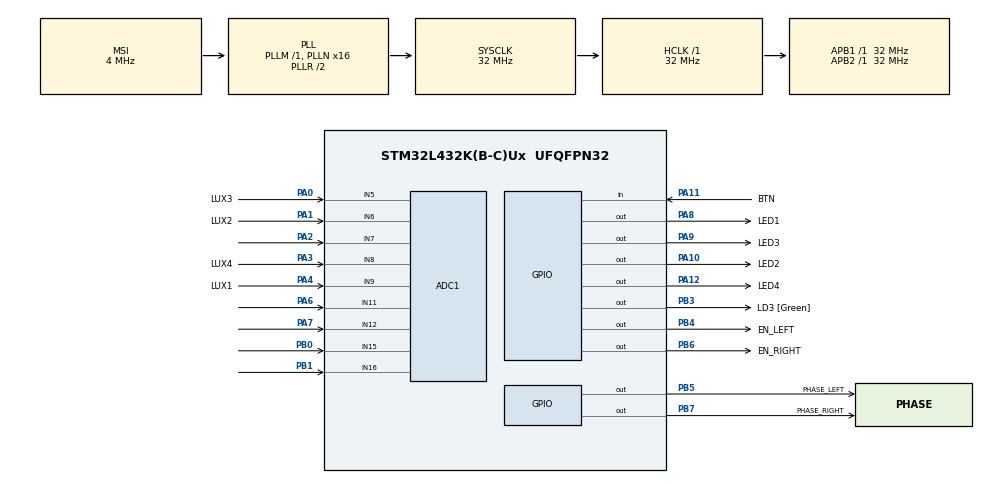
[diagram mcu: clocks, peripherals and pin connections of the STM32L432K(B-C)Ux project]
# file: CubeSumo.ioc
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ADC1.Channel-0\#ChannelRegularConversion=ADC_CHANNEL_11
ADC1.NbrOfConversionFlag=1
ADC1.OffsetNumber-0\#ChannelRegularConversion=ADC_OFFSET_NONE
ADC1.Rank-0\#ChannelRegularConversion=1
ADC1.SamplingTime-0\#ChannelRegularConversion=ADC_SAMPLETIME_2CYCLES_5
ADC1.master=1
Mcu.Family=STM32L4
Mcu.Name=STM32L432K(B-C)Ux
Mcu.Package=UFQFPN32
NVIC.PriorityGroup=NVIC_PRIORITYGROUP_4
PA0.GPIO_Label=LUX3
PA0.Signal=ADCx_IN5
PA1.GPIO_Label=LUX2
PA1.Signal=ADCx_IN6
PA10.GPIO_Label=LED2
PA10.GPIO_PuPd=GPIO_PULLDOWN
PA10.Signal=GPIO_Output
PA11.GPIO_Label=BTN
PA11.Signal=GPIO_Input
PA12.GPIO_Label=LED4
PA12.GPIO_PuPd=GPIO_PULLDOWN
PA12.Signal=GPIO_Output
PA13\ (JTMS-SWDIO).GPIO_Label=SWDIO
PA13\ (JTMS-SWDIO).Mode=Serial_Wire
PA13\ (JTMS-SWDIO).Signal=SYS_JTMS-SWDIO
PA14\ (JTCK-SWCLK).GPIO_Label=SWCLK
PA14\ (JTCK-SWCLK).Mode=Serial_Wire
PA14\ (JTCK-SWCLK).Signal=SYS_JTCK-SWCLK
PA2.Signal=ADCx_IN7
PA3.GPIO_Label=LUX4
PA3.Signal=ADCx_IN8
PA4.GPIO_Label=LUX1
PA4.Signal=ADCx_IN9
PA6.Signal=ADCx_IN11
PA7.Signal=ADCx_IN12
PA8.GPIO_Label=LED1
PA8.GPIO_PuPd=GPIO_PULLDOWN
PA8.Signal=GPIO_Output
PA9.GPIO_Label=LED3
PA9.GPIO_PuPd=GPIO_PULLDOWN
PA9.Signal=GPIO_Output
PB0.Signal=ADCx_IN15
PB1.Signal=ADCx_IN16
PB3\ (JTDO-TRACESWO).GPIO_Label=LD3 [Green]
PB3\ (JTDO-TRACESWO).GPIO_PuPd=GPIO_NOPULL
PB3\ (JTDO-TRACESWO).Signal=GPIO_Output
PB4\ (NJTRST).GPIO_Label=EN_LEFT
PB4\ (NJTRST).GPIO_PuPd=GPIO_PULLDOWN
PB4\ (NJTRST).Signal=GPIO_Output
PB5.GPIO_Label=PHASE_LEFT
PB5.GPIO_PuPd=GPIO_PULLDOWN
PB5.Signal=GPIO_Output
PB6.GPIO_Label=EN_RIGHT
PB6.GPIO_PuPd=GPIO_PULLDOWN
PB6.Signal=GPIO_Output
PB7.GPIO_Label=PHASE_RIGHT
PB7.GPIO_PuPd=GPIO_PULLDOWN
PB7.Signal=GPIO_Output
PC14-OSC32_IN\ (PC14).Mode=LSE-External-Oscillator
PC14-OSC32_IN\ (PC14).Signal=RCC_OSC32_IN
PC15-OSC32_OUT\ (PC15).Mode=LSE-External-Oscillator
PC15-OSC32_OUT\ (PC15).Signal=RCC_OSC32_OUT
ProjectManager.HeapSize=0x200
ProjectManager.StackSize=0x400
ProjectManager.TargetToolchain=CMake
RCC.ADCFreq_Value=32000000
RCC.AHBFreq_Value=32000000
RCC.APB1Freq_Value=32000000
RCC.APB1TimFreq_Value=32000000
RCC.APB2Freq_Value=32000000
RCC.APB2TimFreq_Value=32000000
RCC.CortexFreq_Value=32000000
RCC.HCLKFreq_Value=32000000
RCC.HSE_VALUE=8000000
RCC.HSI16_VALUE=16000000
RCC.HSI48_VALUE=48000000
RCC.HSI_VALUE=16000000
RCC.MSI_VALUE=4000000
RCC.PLLMUL=RCC_PLLMUL_4
RCC.PLLN=16
RCC.PLLSAI1N=16
RCC.SYSCLKFreq_VALUE=32000000
RCC.SYSCLKSource=RCC_SYSCLKSOURCE_PLLCLK
RCC.USBFreq_Value=32000000
RCC.VCOOutputFreq_Value=64000000
SH.ADCx_IN11.0=ADC1_IN11,IN11-Single-Ended
SH.ADCx_IN12.0=ADC1_IN12,IN12-Single-Ended
SH.ADCx_IN15.0=ADC1_IN15,IN15-Single-Ended
SH.ADCx_IN16.0=ADC1_IN16,IN16-Single-Ended
SH.ADCx_IN5.0=ADC1_IN5,IN5-Single-Ended
SH.ADCx_IN6.0=ADC1_IN6,IN6-Single-Ended
SH.ADCx_IN7.0=ADC1_IN7,IN7-Single-Ended
SH.ADCx_IN8.0=ADC1_IN8,IN8-Single-Ended
SH.ADCx_IN9.0=ADC1_IN9,IN9-Single-Ended
board=NUCLEO-L432KC

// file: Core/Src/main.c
/* USER CODE BEGIN Header */
/**
  ******************************************************************************
  * @file           : main.c
  * @brief          : Main program body
  ******************************************************************************
  * @attention
  *
  * Copyright (c) 2025 STMicroelectronics.
  * All rights reserved.
  *
  * This software is licensed under terms that can be found in the LICENSE file
  * in the root directory of this software component.
  * If no LICENSE file comes with this software, it is provided AS-IS.
  *
  ******************************************************************************
  */
/* USER CODE END Header */
#include "main.h"

/* USER CODE BEGIN Includes */
#include "movement.h" // Library for robot movement functions

/* USER CODE END Includes */

/* USER CODE BEGIN PD */

// SENSOR DEFINES
#define NUM_SENSORS (9)                     // How many analog sensors are used in the robot
#define DEBOUNCE_THRESHOLD (5)              // Number of stable reads required to confirm a new button state

// LINE DETECTION DEFINES
#define LINE_DETECTION_THRESHOLD (70)       // ADC value threshold for line detection
#define LINE_DETECTION_CONFIRMATIONS (3)    // Number of consecutive detections required to confirm line
#define BACKWARD_TIME_MS (1000)             // Time to move backward when line detected (ms)
#define MIN_ROTATE_TIME_MS (500)            // Minimum rotation time (ms)
#define MAX_ROTATE_TIME_MS (1500)            // Maximum rotation time (ms)

// OPPONENT DETECTION DEFINES
#define OPPONENT_DETECTION_THRESHOLD (1000)  // ADC value threshold for opponent detection

/* USER CODE END PD */

ADC_HandleTypeDef hadc1;

void SystemClock_Config(void);
static void MX_GPIO_Init(void);
static void MX_ADC1_Init(void);

/* USER CODE BEGIN 0 */

// Struct that associates an ADC channel with a pointer to its output variable
typedef struct
{
    uint32_t channel;
    uint32_t* value_ptr;
} Sensor_t;

// Struct that stores info about button state
typedef struct
{
    uint8_t current;          //current debounced button state  <== use this for external usage
    uint8_t previous;         //previous debounced state
    uint8_t rising_edge;      //set to 1 for one loop cycle when a press is detected
    uint8_t falling_edge;     //set to 1 for one loop cycle when a release is detected
    uint8_t stable_state;     //internal filtered state
    uint8_t debounce_counter; //counter for debounce filtering
} ButtonState_t;

// Enum for all states in state machine
typedef enum
{
    STATE_IDLE,
    STATE_WAIT_FOR_START,
    STATE_SEARCH,
    STATE_FIGHT
} RobotState_t;

// Enum for line detection handler states
typedef enum
{
    LINE_STATE_MONITORING,    // Normal state - monitoring for line
    LINE_STATE_BACKING_UP,    // Moving backward after line detection
    LINE_STATE_ROTATING       // Rotating to avoid line again
} LineDetectionState_t;

// Variables used to store analog values read from sensors
uint32_t FrontRightDistanceSensor, RightDistanceSensor, FrontCenterDistanceSensor, FrontLeftDistanceSensor, LeftDistanceSensor;
uint32_t FrontRightLightSensor, BackRightLightSensor, FrontLeftLightSensor, BackLeftLightSensor;

// Global variable that store all necessary information about the button state
ButtonState_t button = {0};

// Variable tracking current movement direction
Direction_t current_direction = DIR_STOP;

// Global variables storing duty cycle 0-100% for left and right motors
volatile uint8_t pwm_left = 0;
volatile uint8_t pwm_right = 0;

// Holder for current state in state machine
RobotState_t current_state = STATE_IDLE;

// Line detection handler variables
LineDetectionState_t line_state = LINE_STATE_MONITORING;
uint32_t line_action_start_time = 0;    // Time when line action started
uint32_t line_rotate_duration = 0;      // Duration of rotation action
uint8_t line_rotate_direction = 0;      // 0 = left, 1 = right
uint8_t line_detection_counter = 0;     // Counter for filtering line detection noise

// Array that maps ADC channels to their corresponding sensor value variables
Sensor_t sensors[NUM_SENSORS] =
{
    {ADC_CHANNEL_16, &FrontRightDistanceSensor},   // adc_value_1 -> FrontRightDistanceSensor
    {ADC_CHANNEL_11, &RightDistanceSensor},        // adc_value_2 -> RightDistanceSensor
    {ADC_CHANNEL_12, &FrontCenterDistanceSensor},  // adc_value_3 -> FrontCenterDistanceSensor
    {ADC_CHANNEL_7,  &FrontLeftDistanceSensor},    // adc_value_4 -> FrontLeftDistanceSensor
    {ADC_CHANNEL_15, &LeftDistanceSensor},         // adc_value_5 -> LeftDistanceSensor
    {ADC_CHANNEL_9,  &FrontRightLightSensor},      // adc_value_6 -> FrontRightLightSensor
    {ADC_CHANNEL_6,  &BackRightLightSensor},       // adc_value_7 -> BackRightLightSensor
    {ADC_CHANNEL_5,  &FrontLeftLightSensor},       // adc_value_8 -> FrontLeftLightSensor
    {ADC_CHANNEL_8,  &BackLeftLightSensor}         // adc_value_9 -> BackLeftLightSensor
};

// Selects the specified ADC channel and prepares it for conversion
void ADC_SetActiveChannel(ADC_HandleTypeDef *hadc, uint32_t AdcChannel)
{
  ADC_ChannelConfTypeDef sConfig = {0};
  sConfig.Channel = AdcChannel;
  sConfig.Rank = 1;
  sConfig.SamplingTime = ADC_SAMPLETIME_12CYCLES_5;
  if (HAL_ADC_ConfigChannel(hadc, &sConfig) != HAL_OK)
  {
	  Error_Handler();
  }
}

// Reads values from all configured ADC channels and stores the results
void UpdateAllSensors(void)
{
    for (int i = 0; i < NUM_SENSORS; i++)
    {
        ADC_SetActiveChannel(&hadc1, sensors[i].channel);
        HAL_ADC_Start(&hadc1);

        if (HAL_ADC_PollForConversion(&hadc1, 10) == HAL_OK)
        {
        	// Store the value directly in the variable pointed to by the sensor
            *(sensors[i].value_ptr) = HAL_ADC_GetValue(&hadc1);
        }
    }
}

// Calculates the button state including filtering
void UpdateButtonState(void)
{
    // Read raw button input
    uint8_t raw_state = (HAL_GPIO_ReadPin(BTN_GPIO_Port, BTN_Pin) == GPIO_PIN_RESET) ? 1 : 0;

    // Check if the raw state differs from the last confirmed stable state
    if (raw_state != button.stable_state)
    {
        // Count how many times this new state was seen consecutively
        button.debounce_counter++;

        // If new state was long enough then accept it
        if (button.debounce_counter >= DEBOUNCE_THRESHOLD)
        {
            button.previous = button.stable_state;
            button.stable_state = raw_state;

            // Edge detection
            button.rising_edge  = (button.previous == 0 && button.stable_state == 1);
            button.falling_edge = (button.previous == 1 && button.stable_state == 0);
        }
    }
    else
    {
        // Reset debounce counter if state is sure
        button.debounce_counter = 0;

        // Reset edge flags
        button.rising_edge = 0;
        button.falling_edge = 0;
    }

    // Save debounced state for external use
    button.current = button.stable_state;
}

// Turn LEDs under the robot on or off
void LEDsOnOff(uint8_t state)
{
	if (state == 0)
	{
		HAL_GPIO_WritePin(LED1_GPIO_Port, LED1_Pin, GPIO_PIN_RESET);
		HAL_GPIO_WritePin(LED2_GPIO_Port, LED2_Pin, GPIO_PIN_RESET);
		HAL_GPIO_WritePin(LED3_GPIO_Port, LED3_Pin, GPIO_PIN_RESET);
		HAL_GPIO_WritePin(LED4_GPIO_Port, LED4_Pin, GPIO_PIN_RESET);
	}
	else
	{
		HAL_GPIO_WritePin(LED1_GPIO_Port, LED1_Pin, GPIO_PIN_SET);
		HAL_GPIO_WritePin(LED2_GPIO_Port, LED2_Pin, GPIO_PIN_SET);
		HAL_GPIO_WritePin(LED3_GPIO_Port, LED3_Pin, GPIO_PIN_SET);
		HAL_GPIO_WritePin(LED4_GPIO_Port, LED4_Pin, GPIO_PIN_SET);
	}
}

// Robot behavior when a line is detected
void LineDetectionHandler(void)
{
    // Get current time for timing actions
    uint32_t current_time = HAL_GetTick();

    // Check if any of the line sensors detected a line
    uint8_t line_detected_raw = 0;

    if (FrontRightLightSensor > LINE_DETECTION_THRESHOLD ||
        BackRightLightSensor > LINE_DETECTION_THRESHOLD ||
        FrontLeftLightSensor > LINE_DETECTION_THRESHOLD ||
        BackLeftLightSensor > LINE_DETECTION_THRESHOLD)
    {
        line_detected_raw = 1;
    }

    // Filter line detection - require several consecutive confirmations
    uint8_t line_detected_filtered = 0;

    if (line_detected_raw)
    {
        // If a line is detected, increment the counter
        line_detection_counter++;

        // If we have enough confirmed detections, consider it valid
        if (line_detection_counter >= LINE_DETECTION_CONFIRMATIONS)
        {
            line_detected_filtered = 1;
        }
    }
    else
    {
        // If no detection, reset counter
        line_detection_counter = 0;
    }

    switch (line_state)
    {
        case LINE_STATE_MONITORING:
            if (line_detected_filtered)
            {
                // Line detected after filtering - start the escape sequence
                line_action_start_time = current_time;
                line_state = LINE_STATE_BACKING_UP;

                // Immediately start moving backward
                MoveBackward(20);

                // Reset counter after use
                line_detection_counter = 0;
            }
            // If no line is detected, do nothing
            break;

        case LINE_STATE_BACKING_UP:
            // Continue moving backward for a set time
            MoveBackward(20);

            // Reset counter while backing up (not checking line)
            line_detection_counter = 0;

            if (current_time - line_action_start_time >= BACKWARD_TIME_MS)
            {
                // Backward time elapsed, transition to rotating
                line_state = LINE_STATE_ROTATING;
                line_action_start_time = current_time;

                // Generate random rotation time and direction ONLY HERE
                line_rotate_duration = MIN_ROTATE_TIME_MS + (HAL_GetTick() % (MAX_ROTATE_TIME_MS - MIN_ROTATE_TIME_MS));
                line_rotate_direction = HAL_GetTick() % 2;  // 0 or 1
            }
            break;

        case LINE_STATE_ROTATING:
            // Rotate robot in random direction for random time
            if (line_rotate_direction == 0)
            {
                RotateLeft(20);
            }
            else
            {
                RotateRight(20);
            }

            // Reset counter while rotating (not checking line)
            line_detection_counter = 0;

            if (current_time - line_action_start_time >= line_rotate_duration)
            {
                // Rotation finished, return to monitoring
                line_state = LINE_STATE_MONITORING;

                // Clear rotation variables for safety
                line_rotate_duration = 0;
                line_rotate_direction = 0;
            }
            break;

        default:
            // If we reach an unknown state, reset to monitoring
            line_state = LINE_STATE_MONITORING;
            line_rotate_duration = 0;
            line_rotate_direction = 0;
            line_detection_counter = 0;
            break;
    }
}

// Check if opponent is detected by any of the front/side sensors
uint8_t OpponentDetected(void)
{
    if (FrontRightDistanceSensor > OPPONENT_DETECTION_THRESHOLD ||
        RightDistanceSensor > OPPONENT_DETECTION_THRESHOLD ||
        FrontCenterDistanceSensor > OPPONENT_DETECTION_THRESHOLD ||
        FrontLeftDistanceSensor > OPPONENT_DETECTION_THRESHOLD ||
        LeftDistanceSensor > OPPONENT_DETECTION_THRESHOLD)
    {
        return 1;
    }
    return 0;
}

/* USER CODE END 0 */

int main(void)
{

  /* MCU Configuration--------------------------------------------------------*/

  /* Reset of all peripherals, Initializes the Flash interface and the Systick. */
  HAL_Init();

  /* Configure the system clock */
  SystemClock_Config();

  /* Initialize all configured peripherals */
  MX_GPIO_Init();
  MX_ADC1_Init();

  /* Infinite loop */
  /* USER CODE BEGIN WHILE */
  while (1)
  {
      // Update all sensors
      UpdateAllSensors();
      UpdateButtonState();

      // STATE MACHINE
      switch (current_state)
      {
        case STATE_IDLE:
            // Here we put logic for one state
            LEDsOnOff(0);
            StopMotors();

            // Here we check conditions when we want to go to the next state
            current_state = STATE_WAIT_FOR_START;

            break;

        case STATE_WAIT_FOR_START:
            LEDsOnOff(1);

            // Commented for testing without button
            //if (button.falling_edge)
            //{
                current_state = STATE_SEARCH;
            //}
            break;

        case STATE_SEARCH:
            // Check line detection BEFORE issuing movement command
            LineDetectionHandler();

            // Check if opponent is detected by front/side sensors
            // if (OpponentDetected())
            // {
            //     // Opponent found - switch to fight mode
            //     current_state = STATE_FIGHT;
            //     break;
            // }

            // Only if there is no active line detection, move forward
            if (line_state == LINE_STATE_MONITORING)
            {
                MoveForward(20);
            }
            break;

        case STATE_FIGHT:

            break;

        default:
            // If we reach an unknown state, reset to idle
            current_state = STATE_IDLE;
            break;
      }
    /* USER CODE END WHILE */

  }
}

void SystemClock_Config(void)
{
  RCC_OscInitTypeDef RCC_OscInitStruct = {0};
  RCC_ClkInitTypeDef RCC_ClkInitStruct = {0};

  /** Configure the main internal regulator output voltage
  */
  if (HAL_PWREx_ControlVoltageScaling(PWR_REGULATOR_VOLTAGE_SCALE1) != HAL_OK)
  {
    Error_Handler();
  }

  /** Configure LSE Drive Capability
  */
  HAL_PWR_EnableBkUpAccess();
  __HAL_RCC_LSEDRIVE_CONFIG(RCC_LSEDRIVE_LOW);

  /** Initializes the RCC Oscillators according to the specified parameters
  * in the RCC_OscInitTypeDef structure.
  */
  RCC_OscInitStruct.OscillatorType = RCC_OSCILLATORTYPE_LSE|RCC_OSCILLATORTYPE_MSI;
  RCC_OscInitStruct.LSEState = RCC_LSE_ON;
  RCC_OscInitStruct.MSIState = RCC_MSI_ON;
  RCC_OscInitStruct.MSICalibrationValue = 0;
  RCC_OscInitStruct.MSIClockRange = RCC_MSIRANGE_6;
  RCC_OscInitStruct.PLL.PLLState = RCC_PLL_ON;
  RCC_OscInitStruct.PLL.PLLSource = RCC_PLLSOURCE_MSI;
  RCC_OscInitStruct.PLL.PLLM = 1;
  RCC_OscInitStruct.PLL.PLLN = 16;
  RCC_OscInitStruct.PLL.PLLP = RCC_PLLP_DIV7;
  RCC_OscInitStruct.PLL.PLLQ = RCC_PLLQ_DIV2;
  RCC_OscInitStruct.PLL.PLLR = RCC_PLLR_DIV2;
  if (HAL_RCC_OscConfig(&RCC_OscInitStruct) != HAL_OK)
  {
    Error_Handler();
  }

  /** Initializes the CPU, AHB and APB buses clocks
  */
  RCC_ClkInitStruct.ClockType = RCC_CLOCKTYPE_HCLK|RCC_CLOCKTYPE_SYSCLK
                              |RCC_CLOCKTYPE_PCLK1|RCC_CLOCKTYPE_PCLK2;
  RCC_ClkInitStruct.SYSCLKSource = RCC_SYSCLKSOURCE_PLLCLK;
  RCC_ClkInitStruct.AHBCLKDivider = RCC_SYSCLK_DIV1;
  RCC_ClkInitStruct.APB1CLKDivider = RCC_HCLK_DIV1;
  RCC_ClkInitStruct.APB2CLKDivider = RCC_HCLK_DIV1;

  if (HAL_RCC_ClockConfig(&RCC_ClkInitStruct, FLASH_LATENCY_1) != HAL_OK)
  {
    Error_Handler();
  }

  /** Enable MSI Auto calibration
  */
  HAL_RCCEx_EnableMSIPLLMode();
}

static void MX_ADC1_Init(void)
{

  ADC_ChannelConfTypeDef sConfig = {0};

  /** Common config
  */
  hadc1.Instance = ADC1;
  hadc1.Init.ClockPrescaler = ADC_CLOCK_ASYNC_DIV1;
  hadc1.Init.Resolution = ADC_RESOLUTION_12B;
  hadc1.Init.DataAlign = ADC_DATAALIGN_RIGHT;
  hadc1.Init.ScanConvMode = ADC_SCAN_DISABLE;
  hadc1.Init.EOCSelection = ADC_EOC_SINGLE_CONV;
  hadc1.Init.LowPowerAutoWait = DISABLE;
  hadc1.Init.ContinuousConvMode = DISABLE;
  hadc1.Init.NbrOfConversion = 1;
  hadc1.Init.DiscontinuousConvMode = DISABLE;
  hadc1.Init.ExternalTrigConv = ADC_SOFTWARE_START;
  hadc1.Init.ExternalTrigConvEdge = ADC_EXTERNALTRIGCONVEDGE_NONE;
  hadc1.Init.DMAContinuousRequests = DISABLE;
  hadc1.Init.Overrun = ADC_OVR_DATA_PRESERVED;
  hadc1.Init.OversamplingMode = DISABLE;
  if (HAL_ADC_Init(&hadc1) != HAL_OK)
  {
    Error_Handler();
  }

  /** Configure Regular Channel
  */
  sConfig.Channel = ADC_CHANNEL_11;
  sConfig.Rank = ADC_REGULAR_RANK_1;
  sConfig.SamplingTime = ADC_SAMPLETIME_2CYCLES_5;
  sConfig.SingleDiff = ADC_SINGLE_ENDED;
  sConfig.OffsetNumber = ADC_OFFSET_NONE;
  sConfig.Offset = 0;
  if (HAL_ADC_ConfigChannel(&hadc1, &sConfig) != HAL_OK)
  {
    Error_Handler();
  }

}

static void MX_GPIO_Init(void)
{
  GPIO_InitTypeDef GPIO_InitStruct = {0};

  /* GPIO Ports Clock Enable */
  __HAL_RCC_GPIOC_CLK_ENABLE();
  __HAL_RCC_GPIOA_CLK_ENABLE();
  __HAL_RCC_GPIOB_CLK_ENABLE();

  /*Configure GPIO pin Output Level */
  HAL_GPIO_WritePin(GPIOA, LED1_Pin|LED3_Pin|LED2_Pin|LED4_Pin, GPIO_PIN_RESET);

  /*Configure GPIO pin Output Level */
  HAL_GPIO_WritePin(GPIOB, LD3_Pin|EN_LEFT_Pin|PHASE_LEFT_Pin|EN_RIGHT_Pin
                          |PHASE_RIGHT_Pin, GPIO_PIN_RESET);

  /*Configure GPIO pins : LED1_Pin LED3_Pin LED2_Pin LED4_Pin */
  GPIO_InitStruct.Pin = LED1_Pin|LED3_Pin|LED2_Pin|LED4_Pin;
  GPIO_InitStruct.Mode = GPIO_MODE_OUTPUT_PP;
  GPIO_InitStruct.Pull = GPIO_PULLDOWN;
  GPIO_InitStruct.Speed = GPIO_SPEED_FREQ_LOW;
  HAL_GPIO_Init(GPIOA, &GPIO_InitStruct);

  /*Configure GPIO pin : BTN_Pin */
  GPIO_InitStruct.Pin = BTN_Pin;
  GPIO_InitStruct.Mode = GPIO_MODE_INPUT;
  GPIO_InitStruct.Pull = GPIO_NOPULL;
  HAL_GPIO_Init(BTN_GPIO_Port, &GPIO_InitStruct);

  /*Configure GPIO pin : LD3_Pin */
  GPIO_InitStruct.Pin = LD3_Pin;
  GPIO_InitStruct.Mode = GPIO_MODE_OUTPUT_PP;
  GPIO_InitStruct.Pull = GPIO_NOPULL;
  GPIO_InitStruct.Speed = GPIO_SPEED_FREQ_LOW;
  HAL_GPIO_Init(LD3_GPIO_Port, &GPIO_InitStruct);

  /*Configure GPIO pins : EN_LEFT_Pin PHASE_LEFT_Pin EN_RIGHT_Pin PHASE_RIGHT_Pin */
  GPIO_InitStruct.Pin = EN_LEFT_Pin|PHASE_LEFT_Pin|EN_RIGHT_Pin|PHASE_RIGHT_Pin;
  GPIO_InitStruct.Mode = GPIO_MODE_OUTPUT_PP;
  GPIO_InitStruct.Pull = GPIO_PULLDOWN;
  GPIO_InitStruct.Speed = GPIO_SPEED_FREQ_LOW;
  HAL_GPIO_Init(GPIOB, &GPIO_InitStruct);

}

void Error_Handler(void)
{
  __disable_irq();
  while (1)
  {
  }
}
